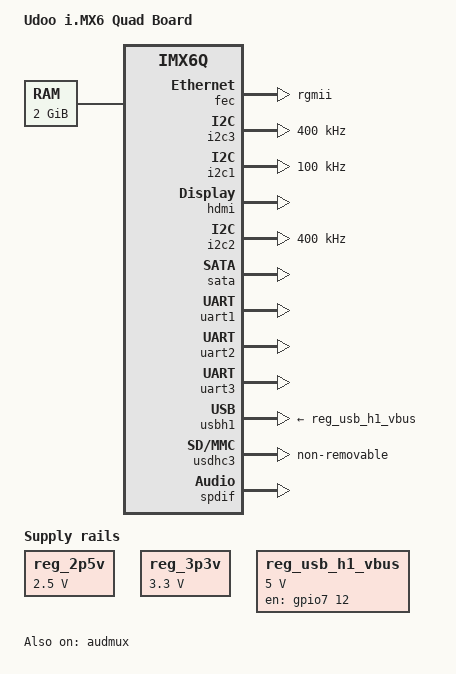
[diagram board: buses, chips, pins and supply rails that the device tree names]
/*
 * Copyright 2013 Freescale Semiconductor, Inc.
 *
 * Author: Fabio Estevam <fabio.estevam@freescale.com>
 *
 * This program is free software; you can redistribute it and/or modify
 * it under the terms of the GNU General Public License version 2 as
 * published by the Free Software Foundation.
 *
 */

/dts-v1/;
#include "imx6q.dtsi"

/ {
	model = "Udoo i.MX6 Quad Board";
	compatible = "udoo,imx6q-udoo", "fsl,imx6q";

	memory {
		reg = <0x10000000 0x80000000>;
	};

	regulators {
		compatible = "simple-bus";
		#address-cells = <1>;
		#size-cells = <0>;

                reg_2p5v: regulator@1 {
                        compatible = "regulator-fixed";
                        reg = <1>;
                        regulator-name = "2P5V";
                        regulator-min-microvolt = <2500000>;
                        regulator-max-microvolt = <2500000>;
                        regulator-always-on;
                };

                reg_3p3v: regulator@2 {
                        compatible = "regulator-fixed";
                        reg = <2>;
                        regulator-name = "3P3V";
                        regulator-min-microvolt = <3300000>;
                        regulator-max-microvolt = <3300000>;
                        regulator-always-on;
                };


		reg_usb_h1_vbus: regulator@0 {
			compatible = "regulator-fixed";
			reg = <0>;
			regulator-name = "usb_h1_vbus";
			regulator-min-microvolt = <5000000>;
			regulator-max-microvolt = <5000000>;
			enable-active-high;
			startup-delay-us = <2>; /* USB2415 requires a POR of 1 us minimum */
			gpio = <&gpio7 12 0>;
		};
	};

        sound-spdif {
                compatible = "fsl,imx-audio-spdif";
                model = "imx-spdif";
                spdif-controller = <&spdif>;
                spdif-out;
        };
};

&fec {
	pinctrl-names = "default";
	pinctrl-0 = <&pinctrl_enet>;
	phy-mode = "rgmii";
	status = "okay";
};

&audmux {
        pinctrl-names = "default";
        pinctrl-0 = <&pinctrl_audmux>;
        status = "okay";
};

&i2c3 {
        clock-frequency = <400000>;
        pinctrl-names = "default";
        pinctrl-0 = <&pinctrl_i2c3>;
        status = "okay";
};

&i2c1 {
        clock-frequency = <100000>;
        pinctrl-names = "default";
        pinctrl-0 = <&pinctrl_i2c1>;
        status = "okay";
};

&hdmi {
	ddc = <&i2c2>;
	status = "okay";
};

&i2c2 {
	clock-frequency = <400000>;
	pinctrl-names = "default";
	pinctrl-0 = <&pinctrl_i2c2>;
	status = "okay";
};

&iomuxc {
	pinctrl-names = "default";
	pinctrl-0 = <&pinctrl_hog>;

	imx6q-udoo {
		pinctrl_hog: hoggrp {
			fsl,pins = <
				MX6QDL_PAD_GPIO_17__GPIO7_IO12 0x80000000
				MX6QDL_PAD_NANDF_CS2__CCM_CLKO2 0x130b0
			>;
		};

                pinctrl_audmux: audmuxgrp {
                        fsl,pins = <MX6QDL_AUDMUX_PINGRP2>;
                };

		pinctrl_enet: enetgrp {
			fsl,pins = <MX6QDL_ENET_PINGRP1>;
		};

                pinctrl_i2c3: i2c3grp {
                        fsl,pins = <MX6QDL_I2C3_PINGRP1>;
                };

                pinctrl_i2c1: i2c1grp {
                        fsl,pins = <MX6QDL_I2C1_PINGRP1>;
                };

		pinctrl_i2c2: i2c2grp {
			fsl,pins = <MX6QDL_I2C2_PINGRP1>;
		};

                pinctrl_spdif: spdifgrp {
                        fsl,pins = <MX6QDL_SPDIF_PINGRP3>;
                };

		pinctrl_uart1: uart1grp {
                        fsl,pins = <MX6QDL_UART1_PINGRP2>;
                };	

		pinctrl_uart2: uart2grp {
			fsl,pins = <MX6QDL_UART2_PINGRP1>;
		};

		pinctrl_uart3: uart3grp {
			fsl,pins = <MX6QDL_UART3_PINGRP3>;
                };

		pinctrl_usdhc3: usdhc3grp {
			fsl,pins = <MX6QDL_USDHC3_PINGRP_D4>;
		};
	};
};

&sata {
	status = "okay";
};

&uart1 {
        pinctrl-names = "default";
        pinctrl-0 = <&pinctrl_uart1>;
        status = "okay";
};

&uart2 {
	pinctrl-names = "default";
	pinctrl-0 = <&pinctrl_uart2>;
	status = "okay";
};

&uart3 {
        pinctrl-names = "default";
        pinctrl-0 = <&pinctrl_uart3>;
        fsl,uart-has-rtscts;
        status = "okay";
};

&usbh1 {
	vbus-supply = <&reg_usb_h1_vbus>;
	clocks = <&clks 201>;
	clock-names = "phy";
	status = "okay";
};

&usdhc3 {
	pinctrl-names = "default";
	pinctrl-0 = <&pinctrl_usdhc3>;
	non-removable;
	status = "okay";
};

&spdif {
        pinctrl-names = "default";
        pinctrl-0 = <&pinctrl_spdif>;
        status = "okay";
};

